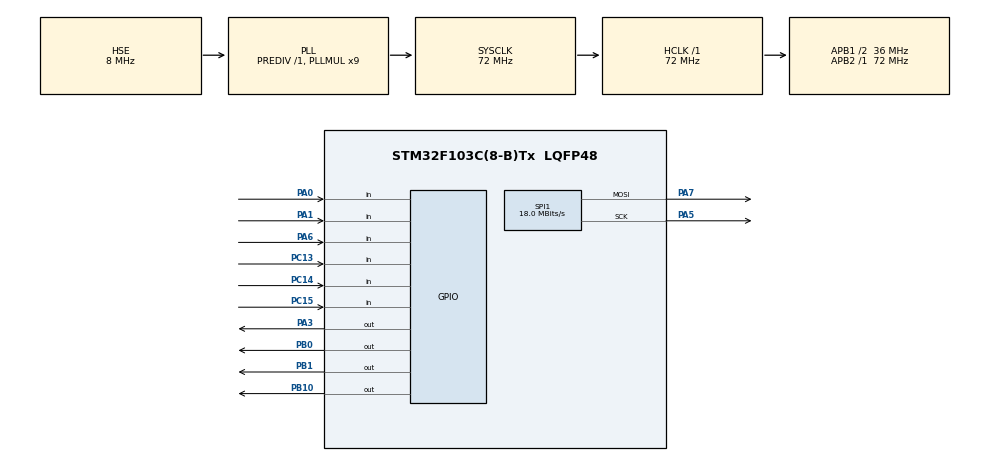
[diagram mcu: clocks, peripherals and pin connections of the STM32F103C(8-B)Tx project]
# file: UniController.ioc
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Dma.Request0=SPI1_TX
Dma.SPI1_TX.0.Direction=DMA_MEMORY_TO_PERIPH
Dma.SPI1_TX.0.Instance=DMA1_Channel3
Dma.SPI1_TX.0.MemDataAlignment=DMA_MDATAALIGN_BYTE
Dma.SPI1_TX.0.MemInc=DMA_MINC_ENABLE
Dma.SPI1_TX.0.Mode=DMA_NORMAL
Dma.SPI1_TX.0.PeriphDataAlignment=DMA_PDATAALIGN_BYTE
Dma.SPI1_TX.0.PeriphInc=DMA_PINC_DISABLE
Dma.SPI1_TX.0.Priority=DMA_PRIORITY_HIGH
Mcu.Family=STM32F1
Mcu.Name=STM32F103C(8-B)Tx
Mcu.Package=LQFP48
NVIC.DMA1_Channel3_IRQn=true\:0\:0\:false\:true\:true\:2\:false\:true
NVIC.PriorityGroup=NVIC_PRIORITYGROUP_4
NVIC.SPI1_IRQn=true\:1\:0\:true\:true\:true\:1\:true\:true
PA0-WKUP.GPIO_PuPd=GPIO_PULLDOWN
PA0-WKUP.Signal=GPIO_Input
PA1.GPIO_PuPd=GPIO_PULLDOWN
PA1.Signal=GPIO_Input
PA13.Mode=JTAG_4_pins
PA13.Signal=SYS_JTMS-SWDIO
PA14.Mode=JTAG_4_pins
PA14.Signal=SYS_JTCK-SWCLK
PA15.Mode=JTAG_4_pins
PA15.Signal=SYS_JTDI
PA3.GPIO_PuPd=GPIO_NOPULL
PA3.PinState=GPIO_PIN_SET
PA3.Signal=GPIO_Output
PA5.GPIO_Speed=GPIO_SPEED_FREQ_MEDIUM
PA5.Mode=TX_Only_Simplex_Unidirect_Master
PA5.Signal=SPI1_SCK
PA6.GPIO_PuPd=GPIO_PULLDOWN
PA6.Signal=GPIO_Input
PA7.GPIO_Mode=GPIO_MODE_AF_PP
PA7.GPIO_Speed=GPIO_SPEED_FREQ_HIGH
PA7.Mode=TX_Only_Simplex_Unidirect_Master
PA7.Signal=SPI1_MOSI
PB0.GPIO_ModeDefaultOutputPP=GPIO_MODE_OUTPUT_PP
PB0.GPIO_PuPd=GPIO_NOPULL
PB0.GPIO_Speed=GPIO_SPEED_FREQ_HIGH
PB0.PinState=GPIO_PIN_RESET
PB0.Signal=GPIO_Output
PB1.GPIO_ModeDefaultOutputPP=GPIO_MODE_OUTPUT_PP
PB1.GPIO_PuPd=GPIO_NOPULL
PB1.GPIO_Speed=GPIO_SPEED_FREQ_HIGH
PB1.PinState=GPIO_PIN_RESET
PB1.Signal=GPIO_Output
PB10.GPIO_ModeDefaultOutputPP=GPIO_MODE_OUTPUT_PP
PB10.GPIO_PuPd=GPIO_NOPULL
PB10.GPIO_Speed=GPIO_SPEED_FREQ_HIGH
PB10.PinState=GPIO_PIN_RESET
PB10.Signal=GPIO_Output
PB3.Mode=JTAG_4_pins
PB3.Signal=SYS_JTDO-TRACESWO
PC13-TAMPER-RTC.GPIO_PuPd=GPIO_PULLDOWN
PC13-TAMPER-RTC.Signal=GPIO_Input
PC14-OSC32_IN.GPIO_PuPd=GPIO_PULLDOWN
PC14-OSC32_IN.Signal=GPIO_Input
PC15-OSC32_OUT.GPIO_PuPd=GPIO_PULLDOWN
PC15-OSC32_OUT.Signal=GPIO_Input
PD0-OSC_IN.Mode=HSE-External-Oscillator
PD0-OSC_IN.Signal=RCC_OSC_IN
PD1-OSC_OUT.Mode=HSE-External-Oscillator
PD1-OSC_OUT.Signal=RCC_OSC_OUT
ProjectManager.HeapSize=0x200
ProjectManager.StackSize=0x400
ProjectManager.TargetToolchain=STM32CubeIDE
RCC.AHBFreq_Value=72000000
RCC.APB1CLKDivider=RCC_HCLK_DIV2
RCC.APB1Freq_Value=36000000
RCC.APB1TimFreq_Value=72000000
RCC.APB2Freq_Value=72000000
RCC.APB2TimFreq_Value=72000000
RCC.HCLKFreq_Value=72000000
RCC.PLLMUL=RCC_PLL_MUL9
RCC.PLLSourceVirtual=RCC_PLLSOURCE_HSE
RCC.SYSCLKFreq_VALUE=72000000
RCC.SYSCLKSource=RCC_SYSCLKSOURCE_PLLCLK
RCC.USBFreq_Value=72000000
SPI1.BaudRatePrescaler=SPI_BAUDRATEPRESCALER_4
SPI1.CLKPhase=SPI_PHASE_2EDGE
SPI1.CLKPolarity=SPI_POLARITY_LOW
SPI1.CRCCalculation=SPI_CRCCALCULATION_DISABLE
SPI1.CalculateBaudRate=18.0 MBits/s
SPI1.DataSize=SPI_DATASIZE_8BIT
SPI1.Direction=SPI_DIRECTION_2LINES
SPI1.FirstBit=SPI_FIRSTBIT_MSB
SPI1.Mode=SPI_MODE_MASTER
SPI1.VirtualType=VM_MASTER
board=custom

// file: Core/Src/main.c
/* USER CODE BEGIN Header */
/**
  ******************************************************************************
  * @file           : main.c
  * @brief          : Main program body
  ******************************************************************************
  * @attention
  *
  * Copyright (c) 2022 STMicroelectronics.
  * All rights reserved.
  *
  * This software is licensed under terms that can be found in the LICENSE file
  * in the root directory of this software component.
  * If no LICENSE file comes with this software, it is provided AS-IS.
  *
  ******************************************************************************
  */
/* USER CODE END Header */
#include "main.h"

/* USER CODE BEGIN Includes */
#include "guilib.h"

#include "stm32f1xx_hal.h"
#include "ILI9341_STM32_Driver.h"
#include "ILI9341_GFX.h"
#include "pins.h"
#include "l10n.h"
#include "theme.h"

int id_page=0;
int id_item=0;
/* USER CODE END Includes */

SPI_HandleTypeDef hspi1;
DMA_HandleTypeDef hdma_spi1_tx;

void SystemClock_Config(void);
static void MX_GPIO_Init(void);
static void MX_DMA_Init(void);
static void MX_SPI1_Init(void);
static void MX_NVIC_Init(void);

int main(void)
{

  /* MCU Configuration--------------------------------------------------------*/

  /* Reset of all peripherals, Initializes the Flash interface and the Systick. */
  HAL_Init();

  /* Configure the system clock */
  SystemClock_Config();

  /* Initialize all configured peripherals */
  MX_GPIO_Init();
  MX_DMA_Init();
  MX_SPI1_Init();

  /* Initialize interrupts */
  MX_NVIC_Init();
  /* USER CODE BEGIN 2 */

  ILI9341_Init();
 // HAL_GPIO_TogglePin(GPIOA, GPIO_PIN_3);
  ILI9341_FillScreen(BLACK);
  ILI9341_SetRotation(SCREEN_HORIZONTAL_2);
  ILI9341_DrawText("STARTING...", FONT4, 90, 110, BLACK, WHITE);

  /* USER CODE END 2 */

  /* Infinite loop */
  /* USER CODE BEGIN WHILE */
  ILI9341_DrawRectangle(0, 0, 320, 240, COL_BG_PAGE);
  while (1)
  {
	  os_worker_buttons(id_page);
	  screen_draw_page(id_page, id_item);
    /* USER CODE END WHILE */
  }
}

void SystemClock_Config(void)
{
  RCC_OscInitTypeDef RCC_OscInitStruct = {0};
  RCC_ClkInitTypeDef RCC_ClkInitStruct = {0};

  /** Initializes the RCC Oscillators according to the specified parameters
  * in the RCC_OscInitTypeDef structure.
  */
  RCC_OscInitStruct.OscillatorType = RCC_OSCILLATORTYPE_HSE;
  RCC_OscInitStruct.HSEState = RCC_HSE_ON;
  RCC_OscInitStruct.HSEPredivValue = RCC_HSE_PREDIV_DIV1;
  RCC_OscInitStruct.HSIState = RCC_HSI_ON;
  RCC_OscInitStruct.PLL.PLLState = RCC_PLL_ON;
  RCC_OscInitStruct.PLL.PLLSource = RCC_PLLSOURCE_HSE;
  RCC_OscInitStruct.PLL.PLLMUL = RCC_PLL_MUL9;
  if (HAL_RCC_OscConfig(&RCC_OscInitStruct) != HAL_OK)
  {
    Error_Handler();
  }
  /** Initializes the CPU, AHB and APB buses clocks
  */
  RCC_ClkInitStruct.ClockType = RCC_CLOCKTYPE_HCLK|RCC_CLOCKTYPE_SYSCLK
                              |RCC_CLOCKTYPE_PCLK1|RCC_CLOCKTYPE_PCLK2;
  RCC_ClkInitStruct.SYSCLKSource = RCC_SYSCLKSOURCE_PLLCLK;
  RCC_ClkInitStruct.AHBCLKDivider = RCC_SYSCLK_DIV1;
  RCC_ClkInitStruct.APB1CLKDivider = RCC_HCLK_DIV2;
  RCC_ClkInitStruct.APB2CLKDivider = RCC_HCLK_DIV1;

  if (HAL_RCC_ClockConfig(&RCC_ClkInitStruct, FLASH_LATENCY_2) != HAL_OK)
  {
    Error_Handler();
  }
}

/**
  * @brief NVIC Configuration.
  * @retval None
  */
static void MX_NVIC_Init(void)
{
  /* SPI1_IRQn interrupt configuration */
  HAL_NVIC_SetPriority(SPI1_IRQn, 1, 0);
  HAL_NVIC_EnableIRQ(SPI1_IRQn);
  /* DMA1_Channel3_IRQn interrupt configuration */
  HAL_NVIC_SetPriority(DMA1_Channel3_IRQn, 0, 0);
  HAL_NVIC_EnableIRQ(DMA1_Channel3_IRQn);
}

static void MX_SPI1_Init(void)
{

  /* SPI1 parameter configuration*/
  hspi1.Instance = SPI1;
  hspi1.Init.Mode = SPI_MODE_MASTER;
  hspi1.Init.Direction = SPI_DIRECTION_2LINES;
  hspi1.Init.DataSize = SPI_DATASIZE_8BIT;
  hspi1.Init.CLKPolarity = SPI_POLARITY_LOW;
  hspi1.Init.CLKPhase = SPI_PHASE_2EDGE;
  hspi1.Init.NSS = SPI_NSS_SOFT;
  hspi1.Init.BaudRatePrescaler = SPI_BAUDRATEPRESCALER_4;
  hspi1.Init.FirstBit = SPI_FIRSTBIT_MSB;
  hspi1.Init.TIMode = SPI_TIMODE_DISABLE;
  hspi1.Init.CRCCalculation = SPI_CRCCALCULATION_DISABLE;
  hspi1.Init.CRCPolynomial = 10;
  if (HAL_SPI_Init(&hspi1) != HAL_OK)
  {
    Error_Handler();
  }

}

static void MX_DMA_Init(void)
{

  /* DMA controller clock enable */
  __HAL_RCC_DMA1_CLK_ENABLE();

}

static void MX_GPIO_Init(void)
{
  GPIO_InitTypeDef GPIO_InitStruct = {0};

  /* GPIO Ports Clock Enable */
  __HAL_RCC_GPIOC_CLK_ENABLE();
  __HAL_RCC_GPIOD_CLK_ENABLE();
  __HAL_RCC_GPIOA_CLK_ENABLE();
  __HAL_RCC_GPIOB_CLK_ENABLE();

  /*Configure GPIO pin Output Level */
  HAL_GPIO_WritePin(GPIOA, GPIO_PIN_3, GPIO_PIN_SET);

  /*Configure GPIO pin Output Level */
  HAL_GPIO_WritePin(GPIOB, GPIO_PIN_0|GPIO_PIN_1|GPIO_PIN_10, GPIO_PIN_RESET);

  /*Configure GPIO pins : PC13 PC14 PC15 */
  GPIO_InitStruct.Pin = GPIO_PIN_13|GPIO_PIN_14|GPIO_PIN_15;
  GPIO_InitStruct.Mode = GPIO_MODE_INPUT;
  GPIO_InitStruct.Pull = GPIO_PULLDOWN;
  HAL_GPIO_Init(GPIOC, &GPIO_InitStruct);

  /*Configure GPIO pins : PA0 PA1 PA6 */
  GPIO_InitStruct.Pin = GPIO_PIN_0|GPIO_PIN_1|GPIO_PIN_6;
  GPIO_InitStruct.Mode = GPIO_MODE_INPUT;
  GPIO_InitStruct.Pull = GPIO_PULLDOWN;
  HAL_GPIO_Init(GPIOA, &GPIO_InitStruct);

  /*Configure GPIO pin : PA3 */
  GPIO_InitStruct.Pin = GPIO_PIN_3;
  GPIO_InitStruct.Mode = GPIO_MODE_OUTPUT_PP;
  GPIO_InitStruct.Pull = GPIO_NOPULL;
  GPIO_InitStruct.Speed = GPIO_SPEED_FREQ_LOW;
  HAL_GPIO_Init(GPIOA, &GPIO_InitStruct);

  /*Configure GPIO pins : PB0 PB1 PB10 */
  GPIO_InitStruct.Pin = GPIO_PIN_0|GPIO_PIN_1|GPIO_PIN_10;
  GPIO_InitStruct.Mode = GPIO_MODE_OUTPUT_PP;
  GPIO_InitStruct.Pull = GPIO_NOPULL;
  GPIO_InitStruct.Speed = GPIO_SPEED_FREQ_HIGH;
  HAL_GPIO_Init(GPIOB, &GPIO_InitStruct);

}

/* USER CODE BEGIN 4 */

//Rewrite that shit please (Maybe EXTI?)
void os_worker_buttons(uint8_t id_mode)
{
		switch (id_mode){ //Here we can program buttons to react on screen
		default:
			if (HAL_GPIO_ReadPin(PIN_BUT1))
			{
				  id_page--;
				  if (id_page<0) id_page=PARAM_PAGE_COUNT-1;
				  HAL_Delay(PARAM_DELAY_KEYS);
				  ILI9341_DrawRectangle(0, 0, 320, 240, COL_BG_PAGE);
			}
			if (HAL_GPIO_ReadPin(PIN_BUT5))
			{
				  id_page++;
				  if (id_page>PARAM_PAGE_COUNT-1) id_page=0;
				  HAL_Delay(PARAM_DELAY_KEYS);
				  ILI9341_DrawRectangle(0, 0, 320, 240, COL_BG_PAGE);
			}
			if (HAL_GPIO_ReadPin(PIN_BUT3))
			{
				  id_item--;
				  if (id_item<0) id_item=0;
				  HAL_Delay(PARAM_DELAY_KEYS);
				  ILI9341_DrawRectangle(0, 0, 320, 240, COL_BG_PAGE);
			}
			if (HAL_GPIO_ReadPin(PIN_BUT4))
			{
				  id_item++;
				  if (id_item>9) id_item=9;
				  HAL_Delay(PARAM_DELAY_KEYS);
				  ILI9341_DrawRectangle(0, 0, 320, 240, COL_BG_PAGE);
			}
			if (HAL_GPIO_ReadPin(PIN_BUT5))
			{

			}
			if (HAL_GPIO_ReadPin(PIN_BUT6))
			{

			}
		break;
		}
}
//Rewrite it on "For" cycle please, fucking imbecil

//Somehow..................
void os_worker_modloader(void)
{

}
/* USER CODE END 4 */

void Error_Handler(void)
{
  __disable_irq();
  while (1)
  {
  }
}
